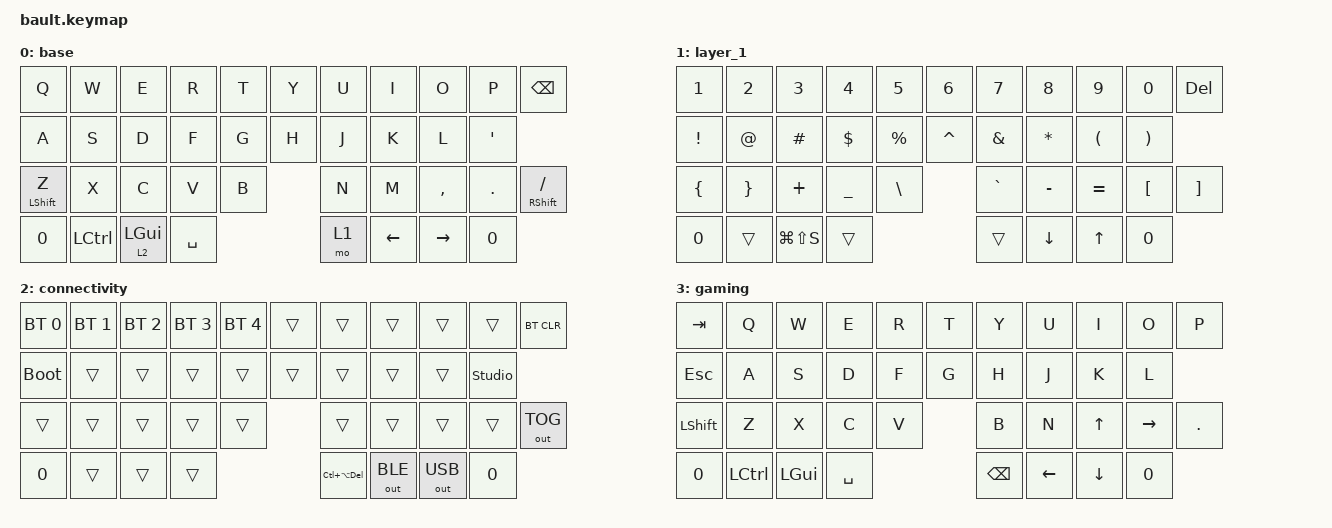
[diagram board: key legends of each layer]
#include <behaviors.dtsi>
#include <dt-bindings/zmk/keys.h>
#include <dt-bindings/zmk/bt.h>
#include <dt-bindings/zmk/outputs.h>

/ {
    combos {
        compatible = "zmk,combos";
        combo_gaming {
            timeout-ms = <50>;
            key-positions = <36 37>;
            bindings = <&tog 3>;
        };
        combo_esc {
            timeout-ms = <50>;
            key-positions = <11 12 13>;
            bindings = <&kp ESC>;
        };
        combo_tab {
            timeout-ms = <50>;
            key-positions = <0 1>;
            bindings = <&kp TAB>;
        };
        combo_enter {
            timeout-ms = <50>;
            key-positions = <19 20>;
            bindings = <&kp ENTER>;
        };
        combo_colon {
            timeout-ms = <50>;
            key-positions = <18 19>;
            bindings = <&kp SEMI>;
        };
    };
    behaviors {
        hm: homerow_mods {
            compatible = "zmk,behavior-hold-tap";
            display-name = "Homerow Mods";
            bindings = <&kp>, <&kp>;

            #binding-cells = <2>;
            tapping-term-ms = <200>;
            quick-tap-ms = <180>;
            require-prior-idle-ms = <0>;
            flavor = "tap-preferred";
        };
    };


    keymap {
        compatible = "zmk,keymap";

        base {
            bindings = <
                &kp Q      &kp W      &kp E      &kp R      &kp T      &kp Y      &kp U      &kp I      &kp O      &kp P      &kp BSPC
                &kp A      &kp S      &kp D      &kp F      &kp G      &kp H      &kp J      &kp K      &kp L      &kp SINGLE_QUOTE
                &mt LSHIFT Z      &kp X      &kp C      &kp V      &kp B      &kp N      &kp M      &kp COMMA      &kp PERIOD      &mt RSHIFT SLASH
                &kp N0      &kp LCTRL      &lt 2 LGUI      &kp SPACE      &mo 1      &kp LEFT     &kp RIGHT       &kp N0
            >;
        };


        layer_1 {
            bindings = <
                &kp N1    &kp N2  &kp N3    &kp N4    &kp N5     &kp N6     &kp N7      &kp N8      &kp N9     &kp N0     &kp DEL
                &kp EXCL  &kp AT  &kp HASH  &kp DLLR  &kp PRCNT  &kp CARET  &kp AMPS    &kp STAR    &kp LPAR  &kp RPAR
                &kp LBRC  &kp RBRC &kp PLUS  &kp UNDER  &kp BSLH  &kp GRAVE  &kp MINUS  &kp EQUAL  &kp LBKT  &kp RBKT
                &kp N0   &trans  &kp LG(LS(S))  &trans  &trans  &kp DOWN  &kp UP   &kp N0
            >;
        };


        connectivity {
            bindings = <
                &bt BT_SEL 0  &bt BT_SEL 1  &bt BT_SEL 2  &bt BT_SEL 3  &bt BT_SEL 4  &trans  &trans  &trans  &trans  &trans  &bt BT_CLR
                &bootloader  &trans  &trans  &trans  &trans  &trans        &trans        &trans        &trans        &studio_unlock
                &trans  &trans  &trans  &trans  &trans  &trans    &trans  &trans  &trans  &out OUT_TOG
                &kp N0   &trans  &trans  &trans  &kp LC(LA(DEL))        &out OUT_BLE        &out OUT_USB &kp N0
            >;
        };

        gaming {
            bindings = <
                &kp TAB    &kp Q      &kp W      &kp E      &kp R      &kp T      &kp Y      &kp U      &kp I      &kp O      &kp P
                &kp ESC    &kp A      &kp S      &kp D      &kp F      &kp G      &kp H      &kp J      &kp K      &kp L
                &kp LSHIFT &kp Z      &kp X      &kp C      &kp V      &kp B      &kp N      &kp UP      &kp RIGHT      &kp PERIOD
                &kp N0      &kp LCTRL      &kp LGUI      &kp SPACE      &kp BSPC      &kp LEFT    &kp DOWN      &kp N0
            >;
        };
    };
};
